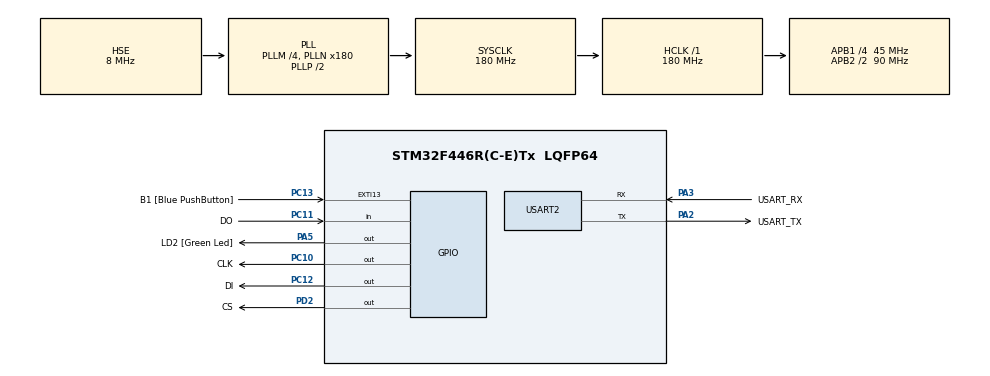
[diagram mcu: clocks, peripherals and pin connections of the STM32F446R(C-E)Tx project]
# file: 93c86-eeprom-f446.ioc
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Mcu.Family=STM32F4
Mcu.Name=STM32F446R(C-E)Tx
Mcu.Package=LQFP64
NVIC.PriorityGroup=NVIC_PRIORITYGROUP_0
PA13.GPIO_Label=TMS
PA13.Mode=Serial_Wire
PA13.Signal=SYS_JTMS-SWDIO
PA14.GPIO_Label=TCK
PA14.Mode=Serial_Wire
PA14.Signal=SYS_JTCK-SWCLK
PA2.GPIO_Label=USART_TX
PA2.Mode=Asynchronous
PA2.Signal=USART2_TX
PA3.GPIO_Label=USART_RX
PA3.Mode=Asynchronous
PA3.Signal=USART2_RX
PA5.GPIO_Label=LD2 [Green Led]
PA5.Signal=GPIO_Output
PC10.GPIO_Label=CLK
PC10.GPIO_PuPd=GPIO_PULLUP
PC10.GPIO_Speed=GPIO_SPEED_FREQ_HIGH
PC10.PinState=GPIO_PIN_RESET
PC10.Signal=GPIO_Output
PC11.GPIO_Label=DO
PC11.GPIO_PuPd=GPIO_PULLUP
PC11.Signal=GPIO_Input
PC12.GPIO_Label=DI
PC12.GPIO_PuPd=GPIO_PULLUP
PC12.GPIO_Speed=GPIO_SPEED_FREQ_HIGH
PC12.Signal=GPIO_Output
PC13.GPIO_Label=B1 [Blue PushButton]
PC13.GPIO_ModeDefaultEXTI=GPIO_MODE_IT_FALLING
PC13.Signal=GPXTI13
PC14-OSC32_IN.Mode=LSE-External-Oscillator
PC14-OSC32_IN.Signal=RCC_OSC32_IN
PC15-OSC32_OUT.Mode=LSE-External-Oscillator
PC15-OSC32_OUT.Signal=RCC_OSC32_OUT
PD2.GPIO_Label=CS
PD2.GPIO_PuPd=GPIO_PULLUP
PD2.GPIO_Speed=GPIO_SPEED_FREQ_HIGH
PD2.PinState=GPIO_PIN_RESET
PD2.Signal=GPIO_Output
PH0-OSC_IN.Mode=HSE-External-Clock-Source
PH0-OSC_IN.Signal=RCC_OSC_IN
PH1-OSC_OUT.Mode=HSE-External-Clock-Source
PH1-OSC_OUT.Signal=RCC_OSC_OUT
ProjectManager.HeapSize=0x200
ProjectManager.StackSize=0x400
ProjectManager.TargetToolchain=SW4STM32
RCC.48MHZClocksFreq_Value=84000000
RCC.AHBFreq_Value=180000000
RCC.APB1CLKDivider=RCC_HCLK_DIV4
RCC.APB1Freq_Value=45000000
RCC.APB1TimFreq_Value=90000000
RCC.APB2CLKDivider=RCC_HCLK_DIV2
RCC.APB2Freq_Value=90000000
RCC.APB2TimFreq_Value=180000000
RCC.CortexFreq_Value=180000000
RCC.FLatency-AdvancedSettings=FLASH_LATENCY_5
RCC.HCLKFreq_Value=180000000
RCC.HSE_VALUE=8000000
RCC.HSI_VALUE=16000000
RCC.PLLM=4
RCC.PLLN=180
RCC.PLLSourceVirtual=RCC_PLLSOURCE_HSE
RCC.SYSCLKFreq_VALUE=180000000
RCC.SYSCLKSource=RCC_SYSCLKSOURCE_PLLCLK
RCC.USBFreq_Value=180000000
RCC.VCOOutputFreq_Value=360000000
USART2.VirtualMode=VM_ASYNC
board=NUCLEO-F446RE

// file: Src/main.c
/* USER CODE BEGIN Header */
/**
  ******************************************************************************
  * @file           : main.c
  * @brief          : Main program body
  ******************************************************************************
  * @attention
  *
  * <h2><center>&copy; Copyright (c) 2020 STMicroelectronics.
  * All rights reserved.</center></h2>
  *
  * This software component is licensed by ST under BSD 3-Clause license,
  * the "License"; You may not use this file except in compliance with the
  * License. You may obtain a copy of the License at:
  *                        opensource.org/licenses/BSD-3-Clause
  *
  ******************************************************************************
  */
/* USER CODE END Header */

#include "main.h"
#include "usart.h"
#include "gpio.h"

/* USER CODE BEGIN Includes */

	#include <stdio.h>
	#include <string.h>
	#include "lcd.h"

	#include "93c86-eeprom-sm.h"

/* USER CODE END Includes */

/* USER CODE BEGIN PTD */

	typedef struct
	{
		UART_HandleTypeDef *uart;
	}	Debug_struct;

/* USER CODE END PTD */

/* USER CODE BEGIN PV */

	#define	DEBUG_STRING_SIZE		100
	char DebugString[DEBUG_STRING_SIZE];

/* USER CODE END PV */

void SystemClock_Config(void);

int main(void)
{

  /* MCU Configuration--------------------------------------------------------*/

  /* Reset of all peripherals, Initializes the Flash interface and the Systick. */
  HAL_Init();

  /* Configure the system clock */
  SystemClock_Config();

  /* Initialize all configured peripherals */
  MX_GPIO_Init();
  MX_USART2_UART_Init();
  /* USER CODE BEGIN 2 */

	Debug_struct DebugH;
	DebugH.uart = &huart2;
	sprintf(DebugString,"\r\nHello 93c86 2020.11.21v4 dec2 \r\n");
	HAL_UART_Transmit(DebugH.uart, (uint8_t *)DebugString, strlen(DebugString), 100);

	LCD_Init();
	LCD_SetRotation(1);
	LCD_SetCursor(0, 0);
	LCD_FillScreen(ILI92_WHITE);
	LCD_SetTextColor(ILI92_MAGENTA, ILI92_WHITE);
	LCD_Printf("%s",DebugString);

//	EVEN  () ;						HAL_Delay(1);
//	WRITE_ONE_CELL (11, 0x1111) ;	HAL_Delay(1);
//	EWDS  () ;						HAL_Delay(1);
	//HAL_Delay(1000);

	sprintf(DebugString,"\r\n0000) ") ;
	LCD_Printf("%s",DebugString);
	HAL_UART_Transmit(DebugH.uart, (uint8_t *)DebugString, strlen(DebugString), 100) ;

	  for (int cell_int = 0; cell_int < 1024; cell_int++) {
		uint16_t res_u16 = READ (cell_int) ;

		{	//	for read char serial number
		res_u16 = inverse_order_in_two_byte_V2 (res_u16);
		char first_ch  = (char) ((res_u16 & 0xFF00)>>8) ;
		char second_ch = (char)  (res_u16 & 0x00FF)     ;
		sprintf(DebugString,"%c %c ", first_ch, second_ch ) ;
		}

//		{	//	for read SOH and Hx
//		sprintf(DebugString,"%05d ", res_u16) ;
//		}

		LCD_Printf("%s",DebugString);
		HAL_UART_Transmit(DebugH.uart, (uint8_t *)DebugString, strlen(DebugString), 100) ;

		if (((cell_int+1)%16 == 0) && (cell_int != 0))  {
			sprintf(DebugString,"\r\n%04d) ", cell_int) ;
			LCD_Printf("%s",DebugString);
			HAL_UART_Transmit(DebugH.uart, (uint8_t *)DebugString, strlen(DebugString), 100) ;
		}

		//LCD_Printf("%s",DebugString);
		//HAL_UART_Transmit(DebugH.uart, (uint8_t *)DebugString, strlen(DebugString), 100) ;
		//HAL_GPIO_TogglePin(LD2_GPIO_Port,LD2_Pin);
		//HAL_Delay(1);
	  }

		sprintf(DebugString," The END.") ;
		LCD_Printf("%s",DebugString);
		HAL_UART_Transmit(DebugH.uart, (uint8_t *)DebugString, strlen(DebugString), 100) ;
  /* USER CODE END 2 */

  /* Infinite loop */
  while (1)
  {

  }
}

void SystemClock_Config(void)
{
  RCC_OscInitTypeDef RCC_OscInitStruct = {0};
  RCC_ClkInitTypeDef RCC_ClkInitStruct = {0};

  /** Configure the main internal regulator output voltage
  */
  __HAL_RCC_PWR_CLK_ENABLE();
  __HAL_PWR_VOLTAGESCALING_CONFIG(PWR_REGULATOR_VOLTAGE_SCALE1);
  /** Initializes the CPU, AHB and APB busses clocks
  */
  RCC_OscInitStruct.OscillatorType = RCC_OSCILLATORTYPE_HSE;
  RCC_OscInitStruct.HSEState = RCC_HSE_BYPASS;
  RCC_OscInitStruct.PLL.PLLState = RCC_PLL_ON;
  RCC_OscInitStruct.PLL.PLLSource = RCC_PLLSOURCE_HSE;
  RCC_OscInitStruct.PLL.PLLM = 4;
  RCC_OscInitStruct.PLL.PLLN = 180;
  RCC_OscInitStruct.PLL.PLLP = RCC_PLLP_DIV2;
  RCC_OscInitStruct.PLL.PLLQ = 2;
  RCC_OscInitStruct.PLL.PLLR = 2;
  if (HAL_RCC_OscConfig(&RCC_OscInitStruct) != HAL_OK)
  {
    Error_Handler();
  }
  /** Activate the Over-Drive mode
  */
  if (HAL_PWREx_EnableOverDrive() != HAL_OK)
  {
    Error_Handler();
  }
  /** Initializes the CPU, AHB and APB busses clocks
  */
  RCC_ClkInitStruct.ClockType = RCC_CLOCKTYPE_HCLK|RCC_CLOCKTYPE_SYSCLK
                              |RCC_CLOCKTYPE_PCLK1|RCC_CLOCKTYPE_PCLK2;
  RCC_ClkInitStruct.SYSCLKSource = RCC_SYSCLKSOURCE_PLLCLK;
  RCC_ClkInitStruct.AHBCLKDivider = RCC_SYSCLK_DIV1;
  RCC_ClkInitStruct.APB1CLKDivider = RCC_HCLK_DIV4;
  RCC_ClkInitStruct.APB2CLKDivider = RCC_HCLK_DIV2;

  if (HAL_RCC_ClockConfig(&RCC_ClkInitStruct, FLASH_LATENCY_5) != HAL_OK)
  {
    Error_Handler();
  }
}

void Error_Handler(void)
{
}

/************************ (C) COPYRIGHT STMicroelectronics *****END OF FILE****/
